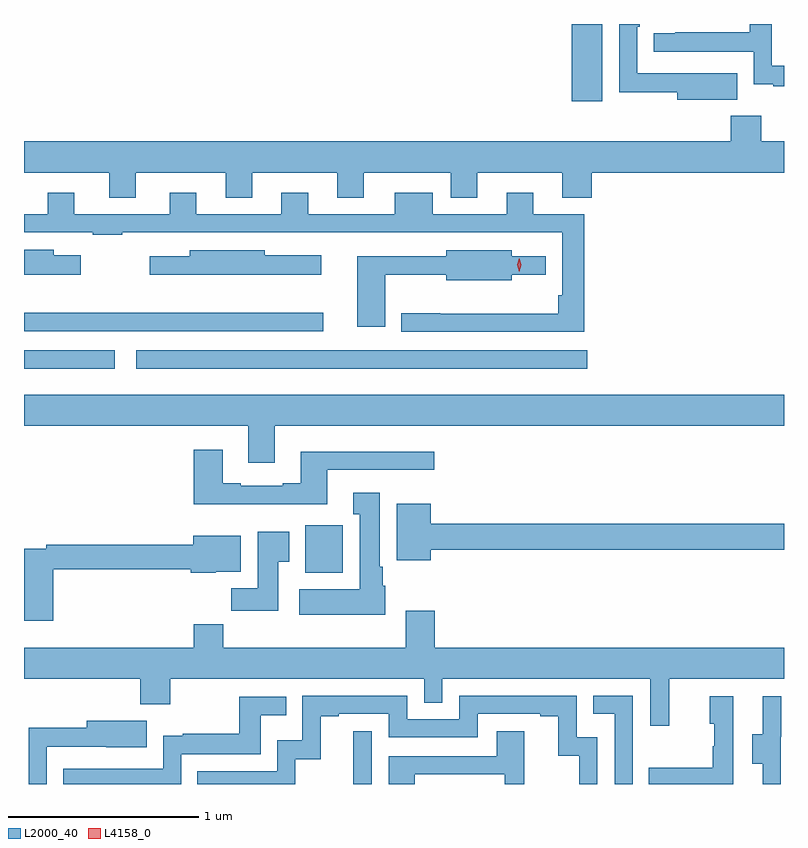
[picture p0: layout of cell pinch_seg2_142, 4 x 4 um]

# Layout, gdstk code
import gdstk
lib = gdstk.Library(unit=1e-6, precision=1e-09)
def R(c, l, rs):  # rectangles x0, y0, x1, y1
    for r in rs: c.add(gdstk.rectangle(r[:2], r[2:], *l))
def P(c, l, *ps):  # polygons
    for p in ps: c.add(gdstk.Polygon(p, *l))
L2000_40 = (2000, 40)
L4158_0 = (4158, 0)

pinch_seg2_142 = lib.new_cell('pinch_seg2_142')
R(pinch_seg2_142, L2000_40, [(1114.367,635.094,1114.464,635.371), (1114.115,636.206,1114.311,636.457), (1112.634,637.28,1113.112,637.377), (1113.225,637.28,1115.599,637.377), (1112.634,637.476,1114.21,637.574), (1115.516,638.688,1115.677,639.094)])
P(pinch_seg2_142, L2000_40, [(1116.389,638.836),(1116.175,638.836),(1116.175,638.835),(1115.862,638.835),(1115.862,639.08),(1115.876,639.08),(1115.876,639.094),(1115.766,639.094),(1115.766,638.734),(1116.071,638.734),(1116.071,638.696),(1116.389,638.696)],
  [(1116.634,638.874),(1116.57,638.874),(1116.57,639.094),(1116.454,639.094),(1116.454,639.05),(1116.061,639.05),(1116.061,639.045),(1115.949,639.045),(1115.949,638.949),(1116.474,638.949),(1116.474,638.777),(1116.577,638.777),(1116.577,638.766),(1116.634,638.766)],
  [(1113.223,638.312),(1113.695,638.312),(1113.695,638.179),(1113.835,638.179),(1113.835,638.312),(1114.283,638.312),(1114.283,638.179),(1114.423,638.179),(1114.423,638.312),(1114.88,638.312),(1114.88,638.179),(1115.02,638.179),(1115.02,638.312),(1115.468,638.312),(1115.468,638.179),(1115.621,638.179),(1115.621,638.312),(1116.634,638.312),(1116.634,638.476),(1116.513,638.476),(1116.513,638.611),(1116.353,638.611),(1116.353,638.476),(1112.634,638.476),(1112.634,638.312),(1113.083,638.312),(1113.083,638.179),(1113.223,638.179)],
  [(1115.582,638.094),(1115.314,638.094),(1115.314,638.206),(1115.174,638.206),(1115.174,638.094),(1114.786,638.094),(1114.786,638.206),(1114.586,638.206),(1114.586,638.094),(1114.129,638.094),(1114.129,638.206),(1113.989,638.206),(1113.989,638.094),(1113.541,638.094),(1113.541,638.206),(1113.401,638.206),(1113.401,638.094),(1112.899,638.094),(1112.899,638.206),(1112.759,638.206),(1112.759,638.094),(1112.634,638.094),(1112.634,637.998),(1112.995,637.998),(1112.995,637.986),(1113.15,637.986),(1113.15,637.998),(1115.466,637.998),(1115.466,637.666),(1115.446,637.666),(1115.446,637.57),(1114.826,637.57),(1114.826,637.571),(1114.619,637.571),(1114.619,637.473),(1115.582,637.473)],
  [(1112.932,637.876),(1112.791,637.876),(1112.791,637.906),(1112.634,637.906),(1112.634,637.775),(1112.932,637.775)],
  [(1114.534,637.775),(1114.856,637.775),(1114.856,637.745),(1115.2,637.745),(1115.2,637.775),(1115.381,637.775),(1115.381,637.872),(1115.2,637.872),(1115.2,637.903),(1114.856,637.903),(1114.856,637.872),(1114.388,637.872),(1114.388,637.5),(1114.534,637.5)],
  [(1114.198,637.876),(1113.9,637.876),(1113.9,637.903),(1113.506,637.903),(1113.506,637.872),(1113.297,637.872),(1113.297,637.775),(1114.198,637.775)],
  [(1113.955,636.98),(1116.634,636.98),(1116.634,637.144),(1112.634,637.144),(1112.634,636.98),(1113.815,636.98),(1113.815,636.786),(1113.955,636.786)],
  [(1114.231,636.747),(1114.792,636.747),(1114.792,636.844),(1114.091,636.844),(1114.091,636.676),(1113.995,636.676),(1113.995,636.663),(1113.775,636.663),(1113.775,636.676),(1113.679,636.676),(1113.679,636.853),(1113.527,636.853),(1113.527,636.566),(1114.231,636.566)],
  [(1114.534,636.138),(1114.522,636.138),(1114.522,636.238),(1114.507,636.238),(1114.507,636.628),(1114.367,636.628),(1114.367,636.515),(1114.4,636.515),(1114.4,636.118),(1114.083,636.118),(1114.083,635.984),(1114.534,635.984)],
  [(1114.774,636.328),(1116.634,636.328),(1116.634,636.464),(1114.774,636.464),(1114.774,636.568),(1114.595,636.568),(1114.595,636.272),(1114.774,636.272)],
  [(1113.973,636.265),(1114.03,636.265),(1114.03,636.421),(1113.863,636.421),(1113.863,636.124),(1113.724,636.124),(1113.724,636.006),(1113.973,636.006)],
  [(1112.789,636.225),(1113.512,636.225),(1113.512,636.206),(1113.642,636.206),(1113.642,636.212),(1113.775,636.212),(1113.775,636.4),(1113.524,636.4),(1113.524,636.353),(1112.752,636.353),(1112.752,636.333),(1112.634,636.333),(1112.634,635.952),(1112.789,635.952)],
  [(1116.029,635.648),(1116.634,635.648),(1116.634,635.812),(1114.796,635.812),(1114.796,636.007),(1114.643,636.007),(1114.643,635.812),(1113.683,635.812),(1113.683,635.936),(1113.527,635.936),(1113.527,635.812),(1112.634,635.812),(1112.634,635.648),(1113.245,635.648),(1113.245,635.513),(1113.405,635.513),(1113.405,635.648),(1114.74,635.648),(1114.74,635.521),(1114.836,635.521),(1114.836,635.648),(1115.931,635.648),(1115.931,635.4),(1116.029,635.4)],
  [(1114.062,635.225),(1114.195,635.225),(1114.195,635.451),(1114.291,635.451),(1114.291,635.463),(1114.554,635.463),(1114.554,635.34),(1115.022,635.34),(1115.022,635.463),(1115.351,635.463),(1115.351,635.451),(1115.447,635.451),(1115.447,635.243),(1115.556,635.243),(1115.556,635.094),(1115.652,635.094),(1115.652,635.34),(1115.544,635.34),(1115.544,635.559),(1114.926,635.559),(1114.926,635.436),(1114.65,635.436),(1114.65,635.559),(1114.098,635.559),(1114.098,635.323),(1113.966,635.323),(1113.966,635.16),(1113.547,635.16),(1113.547,635.094),(1114.062,635.094)],
  [(1115.838,635.559),(1115.629,635.559),(1115.629,635.463),(1115.742,635.463),(1115.742,635.094),(1115.838,635.094)],
  [(1116.366,635.557),(1116.242,635.557),(1116.242,635.412),(1116.268,635.412),(1116.268,635.294),(1116.258,635.294),(1116.258,635.179),(1115.923,635.179),(1115.923,635.094),(1116.366,635.094)],
  [(1116.618,635.343),(1116.62,635.343),(1116.62,635.557),(1116.521,635.557),(1116.521,635.355),(1116.467,635.355),(1116.467,635.2),(1116.522,635.2),(1116.522,635.094),(1116.618,635.094)],
  [(1113.462,635.25),(1113.879,635.25),(1113.879,635.456),(1114.013,635.456),(1114.013,635.553),(1113.768,635.553),(1113.768,635.359),(1113.469,635.359),(1113.469,635.347),(1113.366,635.347),(1113.366,635.175),(1112.841,635.175),(1112.841,635.094),(1113.462,635.094)],
  [(1112.754,635.289),(1113.067,635.289),(1113.067,635.288),(1113.281,635.288),(1113.281,635.428),(1112.963,635.428),(1112.963,635.39),(1112.658,635.39),(1112.658,635.094),(1112.754,635.094)],
  [(1114.691,635.145),(1115.165,635.145),(1115.165,635.094),(1115.267,635.094),(1115.267,635.371),(1115.123,635.371),(1115.123,635.241),(1114.554,635.241),(1114.554,635.094),(1114.691,635.094)])
P(pinch_seg2_142, L4158_0, [(1115.24,637.789),(1115.24,637.789),(1115.23,637.826),(1115.24,637.861),(1115.24,637.862),(1115.24,637.861),(1115.25,637.826),(1115.24,637.789)])

lib.write_gds('pinch_seg2_142.gds')
